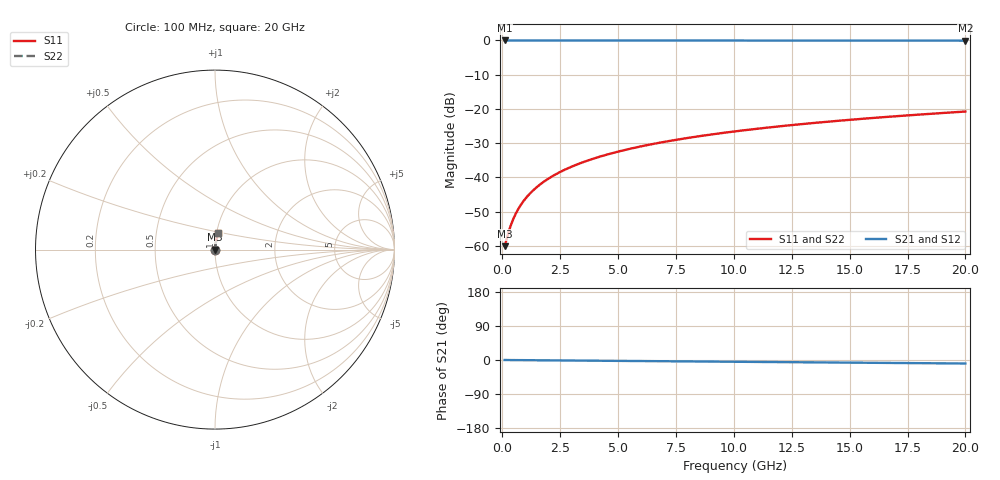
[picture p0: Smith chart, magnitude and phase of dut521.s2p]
! Touchstone file exported from HFSS 2026.1.0
!  File:  C:/ffzhzh/LocalFiles/Ansys_Project_Files/temp_train_TSV_521_1783023518_53980.aedt
!  Generated:  04:21:16 AM Jul  3, 2026
!  Design:  TSV
!  Project:  temp_train_TSV_521_1783023518_53980
! Variables:
!  h_bsmrdl = 2um
!  h_ox = 20um
!  h_rdl = 5um
!  h_sub = 74.74um
!  h_tmrdl = 5um
!  h_tsv = 74.74um
!  h_via = 3um
!  l_bsmrdl = 300um
!  l_sub = 406.4um
!  l_tmrdl = 200um
!  m_sub = 200um
!  pitch = 37.17um
!  r_tsv = 3.2um
!  s_tmrdl = 10um
!  w_bsmrdl = 18um
!  w_sub = 500um
!  w_tmrdl = 12um
!  x_tsv_center1 = 206um
!  x_tsv_center2 = 524um
!  x_tsv_center3 = 736um
!  x_tsv_center4 = 1054um
!  x_tsv_center5 = 1266um
!  x_tsv_center6 = 1584um
# GHz S MA R 50.000000
! Terminal data exported
! Port[1] = TSV1_1_T1
! Port[2] = TSV1_1_T2
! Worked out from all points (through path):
!   200 points, 100 MHz to 20 GHz, reference 50 ohm
!   highest |S21| = -0.01 dB at 100 MHz (marker M1); lowest = -0.1 dB at 20 GHz (marker M2)
!   group delay of S21, straight-line fit = 1.28 ps
!   lowest |S11| = -60.1 dB at 100 MHz (marker M3), VSWR 1.00, Z = 50.1 + j0.0492 ohm
!   |S11| at or under -10 dB: start of sweep to end of sweep
!   |S22| runs from -60.1 to -20.8 dB; largest |S21 - S12| = 2.2e-15
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0.1  0.0009919 29.7  0.9991 -0.0  0.9991 -0.0  0.0009919 29.7
! Gamma 0 0 0 0
! Port Impedance 50 0 50 0
0.3  0.001708 58.9  0.9991 -0.1  0.9991 -0.1  0.001708 58.9
0.4  0.002139 65.3  0.9991 -0.2  0.9991 -0.2  0.002139 65.3
0.5  0.002586 69.5  0.9991 -0.2  0.9991 -0.2  0.002586 69.5
0.6  0.003041 72.5  0.9991 -0.3  0.9991 -0.3  0.003041 72.5
0.7  0.003502 74.6  0.9991 -0.3  0.9991 -0.3  0.003502 74.6
0.9  0.004435 77.6  0.9991 -0.4  0.9991 -0.4  0.004435 77.6
1.2  0.005848 80.2  0.999 -0.6  0.999 -0.6  0.005848 80.2
1.4  0.006795 81.3  0.999 -0.7  0.999 -0.7  0.006795 81.3
1.7  0.008218 82.4  0.999 -0.8  0.999 -0.8  0.008218 82.4
2.2  0.01059 83.5  0.9989 -1.0  0.9989 -1.0  0.01059 83.5
2.8  0.01344 84.1  0.9988 -1.3  0.9988 -1.3  0.01344 84.1
3.5  0.01675 84.4  0.9987 -1.7  0.9987 -1.7  0.01675 84.4
4.2  0.02005 84.4  0.9985 -2.0  0.9985 -2.0  0.02005 84.4
5  0.02379 84.3  0.9983 -2.4  0.9983 -2.4  0.02379 84.3
5.9  0.02798 84.1  0.9981 -2.8  0.9981 -2.8  0.02798 84.1
6.8  0.03215 83.9  0.9978 -3.2  0.9978 -3.2  0.03215 83.9
8.3  0.03904 83.4  0.9974 -3.9  0.9974 -3.9  0.03904 83.4
10.1  0.04724 82.8  0.9968 -4.7  0.9968 -4.7  0.04724 82.8
13.4  0.06215 81.5  0.9956 -6.2  0.9956 -6.2  0.06215 81.5
16.7  0.07693 80.2  0.9943 -7.7  0.9943 -7.7  0.07693 80.2
20  0.09158 78.9  0.9928 -9.2  0.9928 -9.2  0.09158 78.9
